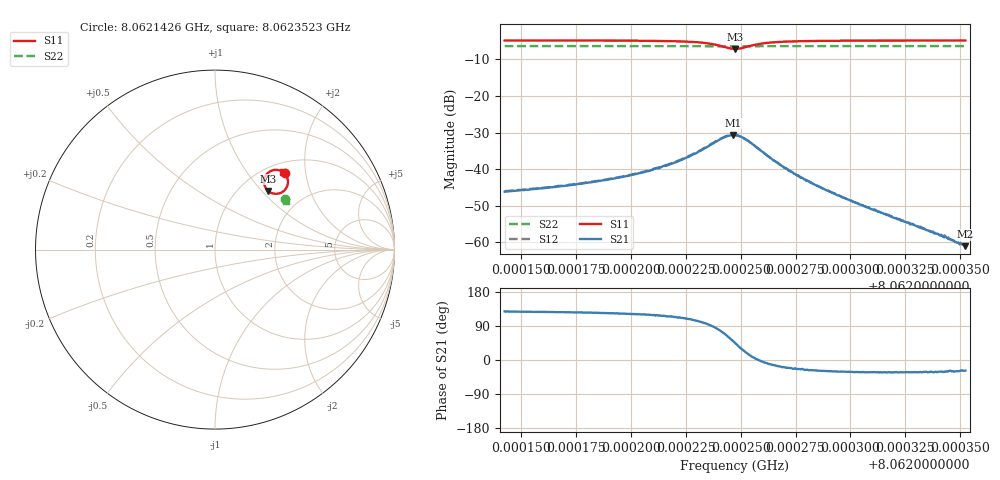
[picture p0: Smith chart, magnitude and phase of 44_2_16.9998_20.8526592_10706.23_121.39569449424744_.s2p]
#  HZ  S  RI  R  50.00
! Rohde & Schwarz Vector Network Analyzer
! Rohde-Schwarz,ZNB20-2Port,1311601062101988,3.16
! Created: UTC 3/20/2024, 10:54:01 PM
! freq[Hz]  re:S11  im:S11  re:S21  im:S21  re:S12  im:S12  re:S22  im:S22
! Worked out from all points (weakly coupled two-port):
!   401 points, 8.0621426 GHz to 8.0623523 GHz, reference 50 ohm
!   highest |S21| = -30.71 dB at 8.0622464 GHz (marker M1); lowest = -61.1 dB at 8.0623523 GHz (marker M2)
!   lowest |S11| = -7.1 dB at 8.0622474 GHz (marker M3), VSWR 2.58, Z = 66.9 + j54.3 ohm
!   |S11| at or under -10 dB: nowhere
!   |S22| runs from -6.5 to -6.3 dB; largest |S21 - S12| = 0.0023
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8.06214255e9  0.3878 0.4248  -0.00303 0.00385  -0.00281 0.0041  0.3906 0.2825
8.06215881e9  0.3904 0.4219  -0.00326 0.00434  -0.00305 0.00456  0.3911 0.2816
8.06217769e9  0.3938 0.4173  -0.00368 0.00515  -0.00343 0.00543  0.3919 0.2804
8.06219605e9  0.3982 0.4104  -0.00417 0.00655  -0.00386 0.00689  0.3923 0.2792
8.06220496e9  0.401 0.4049  -0.0045 0.0077  -0.00407 0.00809  0.3927 0.2786
8.06221283e9  0.4037 0.3978  -0.00468 0.00908  -0.0042 0.00974  0.3929 0.2779
8.06222489e9  0.4066 0.3782  -0.0047 0.0134  -0.00392 0.0137  0.3931 0.2765
8.06223538e9  0.3964 0.3421  -0.00135 0.0205  2.15e-05 0.021  0.3924 0.2746
8.06224168e9  0.3595 0.3138  0.00758 0.0253  0.00949 0.025  0.3906 0.2736
8.0622443e9  0.3314 0.3113  0.0136 0.025  0.0155 0.0242  0.3895 0.2739
8.0622464e9  0.3072 0.3194  0.0185 0.0225  0.0202 0.0213  0.3888 0.2747
8.06224744e9  0.2962 0.3269  0.0206 0.0206  0.0222 0.0191  0.3883 0.275
8.06225007e9  0.2774 0.3535  0.0238 0.0143  0.0248 0.0125  0.3882 0.2764
8.06225216e9  0.2729 0.377  0.0238 0.0092  0.0246 0.00746  0.3884 0.2772
8.06226003e9  0.2985 0.4302  0.0171 -0.00139  0.0169 -0.00247  0.3905 0.2786
8.06227104e9  0.3331 0.4442  0.0094 -0.00355  0.00917 -0.00409  0.3925 0.2781
8.06228258e9  0.3511 0.4436  0.00567 -0.00293  0.00552 -0.00325  0.3936 0.2773
8.06229727e9  0.3628 0.4406  0.00345 -0.00206  0.00333 -0.0023  0.3944 0.2763
8.06231772e9  0.3715 0.4367  0.00194 -0.00123  0.00189 -0.00135  0.3954 0.2751
8.06234342e9  0.3776 0.4332  0.00102 -0.000614  0.000943 -0.000642  0.3963 0.2738
8.06234866e9  0.3785 0.4326  0.000851 -0.000488  0.000827 -0.00056  0.3965 0.2734
8.06235233e9  0.3791 0.4322  0.000777 -0.000414  0.000752 -0.000473  0.3967 0.2733
